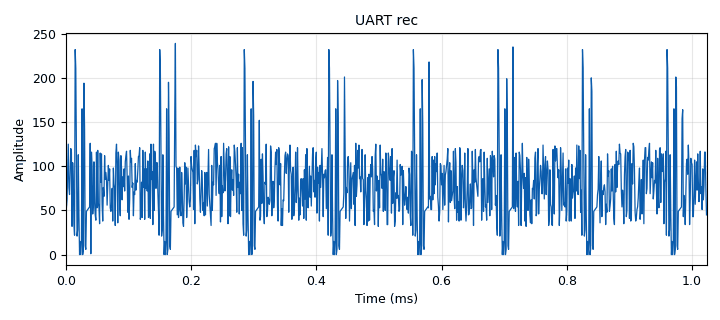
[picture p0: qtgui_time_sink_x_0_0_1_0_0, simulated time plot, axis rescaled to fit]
options:
  parameters:
    author: qsq
    generate_options: qt_gui
    id: untitled
    output_language: python
    title: Not titled yet
  states: {}

blocks:
- name: samp_rate
  id: variable
  parameters:
    value: '1000000'
  states: {}
- name: analog_agc_xx_0
  id: analog_agc_xx
  parameters:
    gain: '1.0'
    max_gain: '65536'
    rate: '1e-4'
    reference: '1.0'
    type: complex
  states: {state: disabled}
- name: blocks_delay_0
  id: blocks_delay
  parameters:
    delay: '0'
    type: float
  states: {state: disabled}
- name: blocks_pack_k_bits_bb_1
  id: blocks_pack_k_bits_bb
  parameters:
    k: '8'
  states: {state: disabled}
- name: blocks_repack_bits_bb_1
  id: blocks_repack_bits_bb
  parameters:
    endianness: gr.GR_MSB_FIRST
    k: '1'
    l: '8'
  states: {state: disabled}
- name: blocks_stream_to_tagged_stream_0
  id: blocks_stream_to_tagged_stream
  parameters:
    len_tag_key: '"packet_len"'
    packet_len: '9'
    type: byte
  states: {state: disabled}
- name: blocks_uchar_to_float_0
  id: blocks_uchar_to_float
  parameters: {}
  states: {state: disabled}
- name: blocks_uchar_to_float_0_0
  id: blocks_uchar_to_float
  parameters: {}
  states: {state: disabled}
- name: blocks_uchar_to_float_0_1
  id: blocks_uchar_to_float
  parameters: {}
  states: {state: disabled}
- name: blocks_uchar_to_float_1
  id: blocks_uchar_to_float
  parameters: {}
  states: {}
- name: blocks_vector_source_x_0
  id: blocks_vector_source_x
  parameters:
    repeat: 'True'
    type: byte
    vector: (0,0,0,1,0,1,0,1,1)
  states: {state: disabled}
- name: digital_gfsk_demod_0
  id: digital_gfsk_demod
  parameters:
    freq_error: '0.0'
    gain_mu: '0.05'
    log: 'True'
    mu: '0.5'
    omega_relative_limit: '0.02'
    samples_per_symbol: '52'
    sensitivity: '2.83227'
  states: {state: disabled}
- name: digital_gfsk_mod_0
  id: digital_gfsk_mod
  parameters:
    bt: '0.35'
    do_unpack: 'False'
    log: 'True'
    samples_per_symbol: '52'
    sensitivity: '2.83227'
  states: {state: disabled}
- name: epy_block_0
  id: epy_block
  parameters:
    _source_code: |-
      #!/usr/bin/env python3
      import numpy as np
      from gnuradio import gr
      import random
      import string

      class gfsk_data_source(gr.sync_block):
          """
          生成空口帧结构的字节流，供GFSK调制块使用
          """
          def __init__(self):
              gr.sync_block.__init__(self, name="Interfere Wave Source", in_sig=None, out_sig=[np.uint8])
              # 帧结构参数
              self.ACCESS_CODE = bytes([0x16, 0xE8, 0xD3, 0x77, 0x15, 0x1C, 0x71, 0x2D])
              self.LENGTH_CHECK = bytes([0x00, 0x0F, 0x00, 0x0F])
              self.SOF = 0xA5
              self.CMD_ID = bytes([0x0A, 0x06])
              self.DATALENGTH = 6
              self.TARGET_BYTES_PER_SEC = 1350
              self.PACKET_FREQ_HZ = 10
              self.CYCLE_TIME = 1.0 / self.PACKET_FREQ_HZ
              self.BYTES_PER_CYCLE = self.TARGET_BYTES_PER_SEC // self.PACKET_FREQ_HZ
              self.data_frame_len = 5 + len(self.CMD_ID) + self.DATALENGTH + 2
              self.air_frame_len = len(self.ACCESS_CODE) + len(self.LENGTH_CHECK) + self.data_frame_len
              self.pad_len = self.BYTES_PER_CYCLE - self.air_frame_len
              self.seq = 0
          def crc8_atm(self, data: bytes) -> int:
              poly = 0x07
              crc = 0x00
              for byte in data:
                  crc ^= byte
                  for _ in range(8):
                      if crc & 0x80:
                          crc = ((crc << 1) ^ poly) & 0xFF
                      else:
                          crc = (crc << 1) & 0xFF
              return crc

          def crc16_ccitt(self, data: bytes) -> int:
              poly = 0x1021
              crc = 0xFFFF
              for byte in data:
                  crc ^= (byte << 8)
                  for _ in range(8):
                      if crc & 0x8000:
                          crc = ((crc << 1) ^ poly) & 0xFFFF
                      else:
                          crc = (crc << 1) & 0xFFFF
              return crc

          def generate_ascii_bytes(self, length: int) -> bytes:
              chars = string.printable[:95]
              return ''.join(random.choices(chars, k=length)).encode('ascii')

          def build_structured_frame(self, seq: int) -> bytes:
              data = b"123456"
              datalength_bytes = bytes([(self.DATALENGTH >> 8) & 0xFF, self.DATALENGTH & 0xFF])
              header_prefix = bytes([self.SOF]) + datalength_bytes + bytes([seq])
              crc8 = self.crc8_atm(header_prefix)
              frame_header = header_prefix + bytes([crc8])
              crc_input = frame_header + self.CMD_ID + data
              crc16_val = self.crc16_ccitt(crc_input)
              crc16_bytes = bytes([(crc16_val >> 8) & 0xFF, crc16_val & 0xFF])
              return crc_input + crc16_bytes

          def next_packet(self):
              structured = self.build_structured_frame(self.seq)
              packet = self.ACCESS_CODE + self.LENGTH_CHECK + structured
              padding = self.generate_ascii_bytes(self.pad_len) if self.pad_len > 0 else b''
              self.seq = (self.seq + 1) % 256
              return packet + padding

          def work(self, input_items, output_items):
              out = output_items[0]
              noutput_items = len(out)
              pkt_len = self.air_frame_len + self.pad_len
              bytes_written = 0
              while bytes_written + pkt_len <= noutput_items:
                  pkt = self.next_packet()
                  out[bytes_written:bytes_written+pkt_len] = np.frombuffer(pkt, dtype=np.uint8)
                  bytes_written += pkt_len
              return bytes_written
  states: {}
- name: epy_block_1
  id: epy_block
  parameters:
    _source_code: |
      import numpy as np
      import serial
      from gnuradio import gr

      class blk(gr.sync_block):
          def __init__(self, port='/dev/ttyUSB0', baudrate=9600):
              gr.sync_block.__init__(self, name='REFEREE Output', in_sig=[], out_sig=[np.uint8])
              self.ser = serial.Serial(port, baudrate, timeout=1)

          def work(self, input_items, output_items):
              if self.ser.in_waiting > 0:
                  data = self.ser.read(self.ser.in_waiting)
                  data_array = np.frombuffer(data, dtype=np.uint8)
                  n_items = min(len(data_array), len(output_items[0]))
                  output_items[0][:n_items] = data_array[:n_items]
                  return n_items
              return 0
    baudrate: '921600'
    port: '''/dev/ttyUSB0'''
  states: {state: disabled}
- name: iio_pluto_sink_0
  id: iio_pluto_sink
  parameters:
    attenuation1: '-60.0'
    bandwidth: '20000000'
    buffer_size: '32768'
    cyclic: 'False'
    filter_source: '''Auto'''
    frequency: '2400000000'
    samplerate: samp_rate
    type: fc32
    uri: ip:192.168.2.1
  states: {state: disabled}
- name: iio_pluto_source_0
  id: iio_pluto_source
  parameters:
    bandwidth: '20000000'
    bbdc: 'True'
    buffer_size: '32768'
    filter_source: '''Auto'''
    frequency: '2400000000'
    gain1: '''slow_attack'''
    quadrature: 'True'
    rfdc: 'True'
    samplerate: samp_rate
    type: fc32
    uri: ip:192.168.2.1
  states: {state: disabled}
- name: qtgui_time_sink_x_0_0
  id: qtgui_time_sink_x
  parameters:
    name: '"jietiao"'
    size: '1024'
    srate: samp_rate
    type: float
  states: {state: disabled}
- name: qtgui_time_sink_x_0_0_0
  id: qtgui_time_sink_x
  parameters:
    name: '"y"'
    size: '1024'
    srate: samp_rate
    type: float
  states: {state: disabled}
- name: qtgui_time_sink_x_0_0_1
  id: qtgui_time_sink_x
  parameters:
    name: '"send"'
    size: '1024'
    srate: samp_rate
    type: complex
  states: {state: disabled}
- name: qtgui_time_sink_x_0_0_1_0
  id: qtgui_time_sink_x
  parameters:
    name: '"rec"'
    size: '1024'
    srate: samp_rate
    type: complex
  states: {state: disabled}
- name: qtgui_time_sink_x_0_0_1_0_0
  id: qtgui_time_sink_x
  parameters:
    name: '"UART rec"'
    size: '1024'
    srate: samp_rate
    type: float
  states: {}

connections:
- [blocks_pack_k_bits_bb_1, '0', blocks_uchar_to_float_0_1, '0']
- [blocks_repack_bits_bb_1, '0', blocks_uchar_to_float_0_0, '0']
- [blocks_stream_to_tagged_stream_0, '0', blocks_uchar_to_float_0, '0']
- [blocks_stream_to_tagged_stream_0, '0', digital_gfsk_mod_0, '0']
- [blocks_uchar_to_float_0, '0', blocks_delay_0, '0']
- [blocks_uchar_to_float_0_0, '0', qtgui_time_sink_x_0_0_0, '0']
- [blocks_uchar_to_float_0_1, '0', qtgui_time_sink_x_0_0, '0']
- [blocks_uchar_to_float_1, '0', qtgui_time_sink_x_0_0_1_0_0, '0']
- [blocks_vector_source_x_0, '0', blocks_stream_to_tagged_stream_0, '0']
- [digital_gfsk_demod_0, '0', blocks_pack_k_bits_bb_1, '0']
- [digital_gfsk_demod_0, '0', blocks_repack_bits_bb_1, '0']
- [digital_gfsk_demod_0, '0', blocks_uchar_to_float_0_0, '0']
- [digital_gfsk_mod_0, '0', digital_gfsk_demod_0, '0']
- [digital_gfsk_mod_0, '0', iio_pluto_sink_0, '0']
- [digital_gfsk_mod_0, '0', qtgui_time_sink_x_0_0_1, '0']
- [epy_block_0, '0', blocks_uchar_to_float_1, '0']
- [epy_block_1, '0', blocks_stream_to_tagged_stream_0, '0']
- [iio_pluto_source_0, '0', digital_gfsk_demod_0, '0']
- [iio_pluto_source_0, '0', qtgui_time_sink_x_0_0_1_0, '0']

metadata:
  file_format: 1
